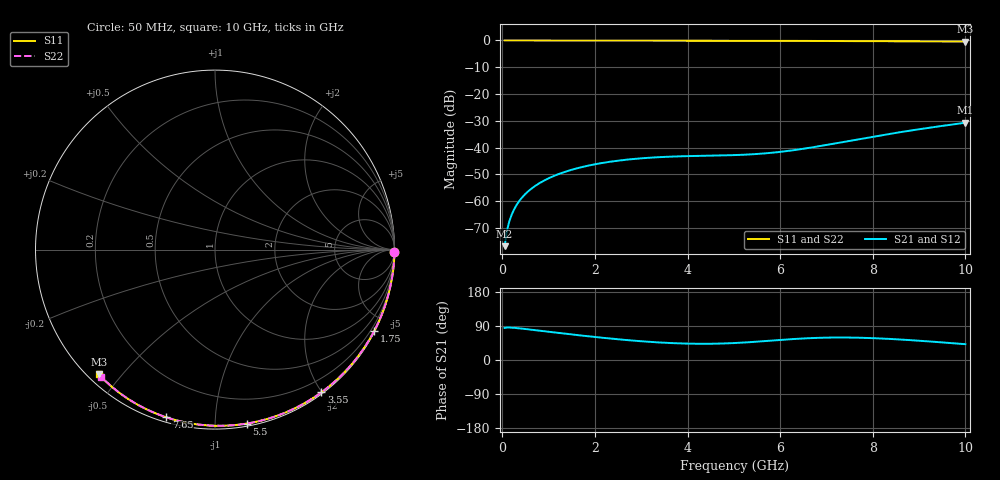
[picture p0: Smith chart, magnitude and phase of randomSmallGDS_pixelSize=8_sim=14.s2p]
! freq	dB(S11)	phase(S11)	dB(S12)	phase(S12)
!  dB(S21)	phase(S21)	dB(S22)	phase(S22)
!S-par simulation data
#  GHz  S  DB  R 50
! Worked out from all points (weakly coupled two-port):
!   200 points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, 50 MHz to 10 GHz, reference 50 ohm
!   highest |S21| = -30.74 dB at 10 GHz (marker M1); lowest = -76.9 dB at 50 MHz (marker M2)
!   lowest |S11| = -0.4 dB at 10 GHz (marker M3), VSWR 39.36, Z = 1.51 - j21.7 ohm
!   |S11| at or under -10 dB: nowhere
!   |S22| runs from -0.4 to 0.0 dB; largest |S21 - S12| = 0
!   S11 on the Smith chart (normalised r, x): 50 MHz: open; 1.75 GHz: 0.04, -4.18; 3.55 GHz: 0.02, -1.99; 5.5 GHz: 0.02, -1.20; 7.65 GHz: 0.02, -0.75; 10 GHz: 0.03, -0.43
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0.05  -0.00 -0.8  -76.85 84.6  -76.85 84.6  -0.00 -0.8
0.1  -0.00 -1.6  -71.11 85.6  -71.11 85.6  -0.00 -1.6
0.15  -0.00 -2.3  -67.66 85.7  -67.66 85.7  -0.00 -2.3
0.2  -0.00 -3.1  -65.19 85.4  -65.19 85.4  -0.00 -3.1
0.25  -0.00 -3.9  -63.27 85.0  -63.27 85.0  -0.00 -3.9
0.35  -0.00 -5.5  -60.38 83.8  -60.38 83.8  -0.00 -5.4
0.5  -0.01 -7.8  -57.32 81.8  -57.32 81.8  -0.01 -7.7
0.7  -0.01 -10.9  -54.46 78.9  -54.46 78.9  -0.01 -10.8
1  -0.02 -15.5  -51.50 74.6  -51.50 74.6  -0.02 -15.4
1.35  -0.03 -20.9  -49.10 69.5  -49.10 69.5  -0.03 -20.7
1.75  -0.03 -26.9  -47.18 64.0  -47.18 64.0  -0.03 -26.7
2.5  -0.05 -38.1  -44.91 54.7  -44.91 54.7  -0.05 -37.7
3.4  -0.07 -51.1  -43.58 46.2  -43.58 46.2  -0.07 -50.7
3.55  -0.07 -53.3  -43.46 45.2  -43.46 45.2  -0.07 -52.8
4.3  -0.09 -63.7  -43.10 42.7  -43.10 42.7  -0.09 -63.1
5.05  -0.11 -73.8  -42.80 45.0  -42.80 45.0  -0.11 -73.1
5.5  -0.13 -79.7  -42.41 48.4  -42.41 48.4  -0.13 -79.0
6.05  -0.15 -86.7  -41.53 53.3  -41.53 53.3  -0.15 -85.9
6.7  -0.18 -94.8  -39.92 57.9  -39.92 57.9  -0.18 -93.9
7.65  -0.24 -106.2  -37.04 58.9  -37.04 58.9  -0.23 -105.2
8.35  -0.29 -114.4  -34.95 55.7  -34.95 55.7  -0.28 -113.3
10  -0.44 -133.0  -30.74 41.7  -30.74 41.7  -0.44 -131.7
